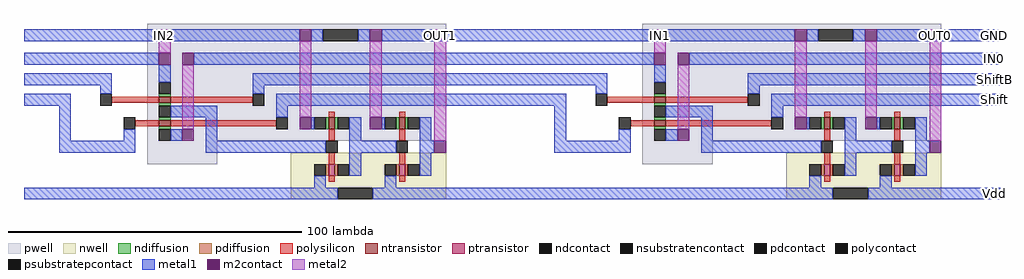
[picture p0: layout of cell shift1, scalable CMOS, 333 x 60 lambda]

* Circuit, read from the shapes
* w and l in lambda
.subckt shift1 GND IN0 IN1 IN2 OUT0 OUT1 Shift ShiftB Vdd
M1 n1 Shift IN1 GND nfet w=4 l=2
M2 IN2 ShiftB n1 GND nfet w=4 l=2
M3 n2 n1 GND GND nfet w=4 l=2
M4 OUT1 n2 GND GND nfet w=4 l=2
M5 n3 Shift IN0 GND nfet w=4 l=2
M6 IN1 ShiftB n3 GND nfet w=4 l=2
M7 n4 n3 GND GND nfet w=4 l=2
M8 OUT0 n4 GND GND nfet w=4 l=2
M9 n2 n1 Vdd Vdd pfet w=4 l=2
M10 OUT1 n2 Vdd Vdd pfet w=4 l=2
M11 n4 n3 Vdd Vdd pfet w=4 l=2
M12 OUT0 n4 Vdd Vdd pfet w=4 l=2
.ends

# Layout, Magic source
magic
tech scmos
<< pwell >>
rect 24 -111 126 -71
rect 193 -111 295 -71
rect 24 -119 48 -111
rect 193 -119 217 -111
<< nwell >>
rect 73 -131 126 -115
rect 242 -131 295 -115
<< polysilicon >>
rect 12 -98 28 -96
rect 32 -98 60 -96
rect 181 -98 197 -96
rect 201 -98 229 -96
rect 86 -103 88 -101
rect 110 -103 112 -101
rect 255 -103 257 -101
rect 279 -103 281 -101
rect 20 -106 28 -104
rect 32 -106 68 -104
rect 189 -106 197 -104
rect 201 -106 237 -104
rect 86 -111 88 -107
rect 110 -111 112 -107
rect 255 -111 257 -107
rect 279 -111 281 -107
rect 86 -119 88 -115
rect 110 -119 112 -115
rect 255 -119 257 -115
rect 279 -119 281 -115
rect 86 -125 88 -123
rect 110 -125 112 -123
rect 255 -125 257 -123
rect 279 -125 281 -123
<< ndiffusion >>
rect 28 -96 32 -95
rect 28 -99 32 -98
rect 197 -96 201 -95
rect 197 -99 201 -98
rect 28 -104 32 -103
rect 28 -107 32 -106
rect 85 -107 86 -103
rect 88 -107 89 -103
rect 109 -107 110 -103
rect 112 -107 113 -103
rect 197 -104 201 -103
rect 197 -107 201 -106
rect 254 -107 255 -103
rect 257 -107 258 -103
rect 278 -107 279 -103
rect 281 -107 282 -103
<< pdiffusion >>
rect 85 -123 86 -119
rect 88 -123 89 -119
rect 109 -123 110 -119
rect 112 -123 113 -119
rect 254 -123 255 -119
rect 257 -123 258 -119
rect 278 -123 279 -119
rect 281 -123 282 -119
<< metal1 >>
rect -18 -77 76 -73
rect 80 -77 84 -73
rect 96 -77 100 -73
rect 104 -77 245 -73
rect 249 -77 253 -73
rect 265 -77 269 -73
rect 273 -77 315 -73
rect -18 -85 28 -81
rect 40 -85 197 -81
rect 209 -85 315 -81
rect -18 -92 12 -88
rect 8 -95 12 -92
rect 28 -91 32 -85
rect 60 -92 181 -88
rect 60 -95 64 -92
rect 177 -95 181 -92
rect 197 -91 201 -85
rect 229 -92 315 -88
rect 229 -95 233 -92
rect -18 -99 -2 -95
rect 68 -99 167 -95
rect 237 -99 315 -95
rect -6 -111 -2 -99
rect 32 -103 48 -99
rect 16 -111 20 -107
rect 32 -111 36 -107
rect 44 -111 48 -103
rect 68 -103 72 -99
rect 80 -107 81 -103
rect 93 -111 97 -103
rect 104 -107 105 -103
rect 117 -111 121 -103
rect 163 -111 167 -99
rect 201 -103 217 -99
rect 185 -111 189 -107
rect 201 -111 205 -107
rect 213 -111 217 -103
rect 237 -103 241 -99
rect 249 -107 250 -103
rect 262 -111 266 -103
rect 273 -107 274 -103
rect 286 -111 290 -103
rect -6 -115 20 -111
rect 44 -115 85 -111
rect 93 -115 109 -111
rect 117 -115 122 -111
rect 163 -115 189 -111
rect 213 -115 254 -111
rect 262 -115 278 -111
rect 286 -115 291 -111
rect 93 -123 97 -115
rect 117 -123 121 -115
rect 262 -123 266 -115
rect 286 -123 290 -115
rect 81 -127 85 -123
rect 105 -127 109 -123
rect 250 -127 254 -123
rect 274 -127 278 -123
rect -18 -131 89 -127
rect 101 -131 258 -127
rect 270 -131 315 -127
<< metal2 >>
rect 28 -81 32 -73
rect 36 -107 40 -85
rect 76 -103 80 -77
rect 100 -103 104 -77
rect 122 -111 126 -73
rect 197 -81 201 -73
rect 205 -107 209 -85
rect 245 -103 249 -77
rect 269 -103 273 -77
rect 291 -111 295 -73
<< ntransistor >>
rect 28 -98 32 -96
rect 197 -98 201 -96
rect 28 -106 32 -104
rect 86 -107 88 -103
rect 110 -107 112 -103
rect 197 -106 201 -104
rect 255 -107 257 -103
rect 279 -107 281 -103
<< ptransistor >>
rect 86 -123 88 -119
rect 110 -123 112 -119
rect 255 -123 257 -119
rect 279 -123 281 -119
<< polycontact >>
rect 8 -99 12 -95
rect 60 -99 64 -95
rect 177 -99 181 -95
rect 229 -99 233 -95
rect 16 -107 20 -103
rect 68 -107 72 -103
rect 185 -107 189 -103
rect 237 -107 241 -103
rect 85 -115 89 -111
rect 109 -115 113 -111
rect 254 -115 258 -111
rect 278 -115 282 -111
<< ndcontact >>
rect 28 -95 32 -91
rect 197 -95 201 -91
rect 28 -103 32 -99
rect 197 -103 201 -99
rect 81 -107 85 -103
rect 89 -107 93 -103
rect 105 -107 109 -103
rect 113 -107 117 -103
rect 250 -107 254 -103
rect 258 -107 262 -103
rect 274 -107 278 -103
rect 282 -107 286 -103
rect 28 -111 32 -107
rect 197 -111 201 -107
<< pdcontact >>
rect 81 -123 85 -119
rect 89 -123 93 -119
rect 105 -123 109 -119
rect 113 -123 117 -119
rect 250 -123 254 -119
rect 258 -123 262 -119
rect 274 -123 278 -119
rect 282 -123 286 -119
<< m2contact >>
rect 76 -77 80 -73
rect 100 -77 104 -73
rect 245 -77 249 -73
rect 269 -77 273 -73
rect 28 -85 32 -81
rect 36 -85 40 -81
rect 197 -85 201 -81
rect 205 -85 209 -81
rect 36 -111 40 -107
rect 76 -107 80 -103
rect 100 -107 104 -103
rect 205 -111 209 -107
rect 245 -107 249 -103
rect 269 -107 273 -103
rect 122 -115 126 -111
rect 291 -115 295 -111
<< psubstratepcontact >>
rect 84 -77 96 -73
rect 253 -77 265 -73
<< nsubstratencontact >>
rect 89 -131 101 -127
rect 258 -131 270 -127
<< labels >>
rlabel metal1 313 -75 313 -75 6 GND
rlabel metal1 313 -129 313 -129 8 Vdd
rlabel metal2 293 -75 293 -75 5 OUT0
rlabel metal1 313 -90 313 -90 7 ShiftB
rlabel metal1 313 -97 313 -97 7 Shift
rlabel metal2 124 -75 124 -75 5 OUT1
rlabel metal2 199 -75 199 -75 5 IN1
rlabel metal1 313 -83 313 -83 7 IN0
rlabel metal2 30 -75 30 -75 5 IN2
<< end >>
